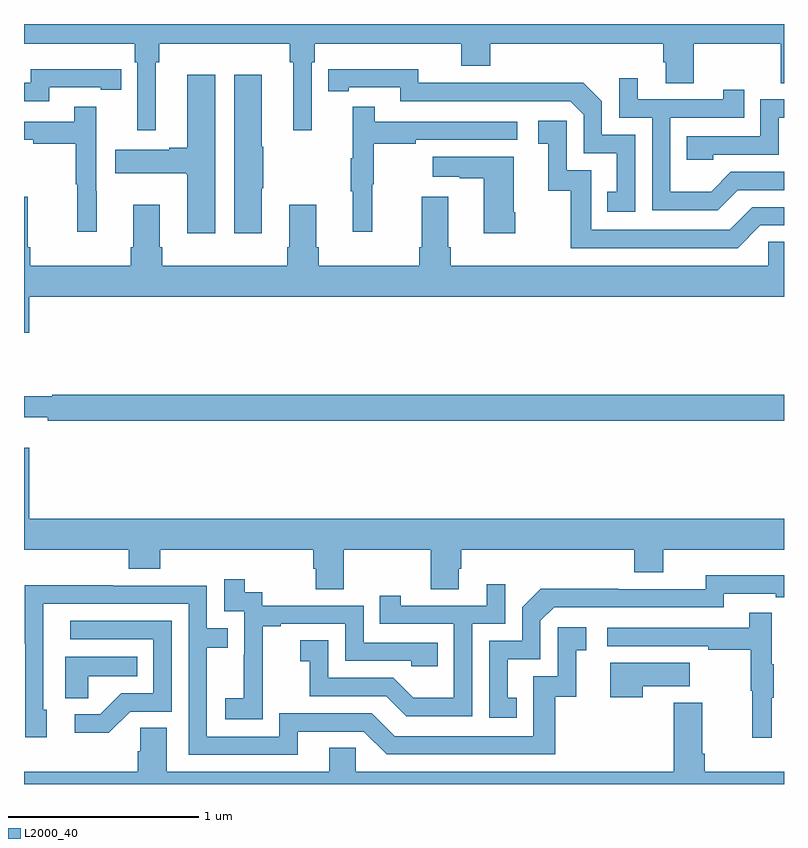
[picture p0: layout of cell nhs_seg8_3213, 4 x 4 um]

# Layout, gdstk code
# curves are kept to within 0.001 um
import gdstk
lib = gdstk.Library(unit=1e-6, precision=1e-09)
def P(c, l, *ps):  # polygons
    for p in ps: c.add(gdstk.Polygon(p, *l))
L2000_40 = (2000, 40)

nhs_seg8_3213 = lib.new_cell('nhs_seg8_3213')
P(nhs_seg8_3213, L2000_40, [(309.694,1153.7),(309.713,1153.7),(309.713,1153.796),(310.399,1153.796),(310.399,1153.7),(310.418,1153.7),(310.418,1153.341),(310.515,1153.341),(310.515,1153.7),(310.529,1153.7),(310.529,1153.796),(311.3,1153.796),(311.3,1153.679),(311.453,1153.679),(311.453,1153.796),(312.365,1153.796),(312.365,1153.698),(312.377,1153.698),(312.377,1153.588),(312.525,1153.588),(312.525,1153.796),(312.982,1153.796),(312.982,1153.588),(313,1153.588),(313,1153.9),(309,1153.9),(309,1153.796),(309.584,1153.796),(309.584,1153.7),(309.597,1153.7),(309.597,1153.341),(309.694,1153.341)],
  [(309.132,1153.566),(309.404,1153.566),(309.404,1153.554),(309.512,1153.554),(309.512,1153.662),(309.404,1153.662),(309.404,1153.663),(309.036,1153.663),(309.036,1153.59),(309,1153.59),(309,1153.494),(309.132,1153.494)],
  [(312.216,1153.317),(312.042,1153.317),(312.042,1153.494),(311.944,1153.592),(311.536,1153.592),(311.536,1153.59),(311.076,1153.59),(311.076,1153.663),(310.6,1153.662),(310.6,1153.546),(310.708,1153.546),(310.708,1153.566),(310.98,1153.566),(310.98,1153.494),(311.874,1153.494),(311.946,1153.422),(311.946,1153.221),(312.119,1153.221),(312.119,1153.017),(312.07,1153.017),(312.07,1152.912),(312.216,1152.912)],
  [(310.252,1153.036),(310.26,1153.036),(310.26,1153.253),(310.252,1153.253),(310.252,1153.633),(310.106,1153.633),(310.106,1152.798),(310.252,1152.798)],
  [(310.006,1153.633),(309.86,1153.633),(309.86,1153.25),(309.764,1153.25),(309.764,1153.237),(309.48,1153.237),(309.48,1153.115),(309.853,1153.115),(309.853,1153.108),(309.86,1153.108),(309.86,1152.798),(310.006,1152.798)],
  [(312.757,1153.026),(313,1153.026),(313,1153.122),(312.72,1153.122),(312.616,1153.018),(312.402,1153.018),(312.402,1153.407),(312.791,1153.407),(312.791,1153.555),(312.68,1153.555),(312.68,1153.503),(312.229,1153.503),(312.229,1153.615),(312.132,1153.615),(312.132,1153.407),(312.306,1153.407),(312.306,1152.921),(312.652,1152.921)],
  [(312.627,1153.212),(312.972,1153.212),(312.972,1153.407),(313,1153.407),(313,1153.503),(312.876,1153.503),(312.876,1153.308),(312.487,1153.308),(312.487,1153.185),(312.627,1153.185)],
  [(309.383,1153.019),(309.381,1153.019),(309.381,1153.465),(309.265,1153.465),(309.265,1153.386),(309,1153.386),(309,1153.29),(309.049,1153.29),(309.049,1153.27),(309.273,1153.27),(309.273,1153.056),(309.28,1153.056),(309.28,1152.807),(309.383,1152.807)],
  [(310.832,1153.056),(310.84,1153.056),(310.84,1153.27),(311.063,1153.27),(311.063,1153.29),(311.596,1153.29),(311.596,1153.386),(310.847,1153.386),(310.847,1153.465),(310.73,1153.465),(310.73,1153.193),(310.719,1153.193),(310.719,1153.019),(310.73,1153.019),(310.73,1152.807),(310.832,1152.807)],
  [(312.876,1152.84),(313,1152.84),(313,1152.936),(312.834,1152.936),(312.714,1152.816),(311.985,1152.816),(311.985,1153.131),(311.856,1153.131),(311.856,1153.39),(311.706,1153.39),(311.706,1153.269),(311.759,1153.269),(311.759,1153.023),(311.877,1153.023),(311.877,1152.72),(312.756,1152.72)],
  [(311.586,1152.91),(311.578,1152.91),(311.578,1153.201),(311.151,1153.201),(311.151,1153.097),(311.294,1153.097),(311.294,1153.087),(311.42,1153.087),(311.42,1152.798),(311.586,1152.798)],
  [(313,1152.755),(312.918,1152.755),(312.918,1152.628),(311.246,1152.628),(311.246,1152.724),(311.233,1152.724),(311.233,1152.991),(311.093,1152.991),(311.093,1152.724),(311.081,1152.724),(311.081,1152.628),(310.55,1152.628),(310.55,1152.724),(310.537,1152.724),(310.537,1152.949),(310.397,1152.949),(310.397,1152.724),(310.385,1152.724),(310.385,1152.628),(309.728,1152.628),(309.728,1152.724),(309.715,1152.724),(309.715,1152.949),(309.575,1152.949),(309.575,1152.724),(309.563,1152.724),(309.563,1152.628),(309.032,1152.628),(309.032,1152.724),(309.019,1152.724),(309.019,1152.991),(309,1152.991),(309,1152.276),(309.028,1152.276),(309.028,1152.464),(313,1152.464)],
  [(313,1151.948),(309.149,1151.948),(309.149,1151.941),(309,1151.941),(309,1151.831),(309.124,1151.831),(309.124,1151.812),(313,1151.812)],
  [(310.683,1151.132),(311.14,1151.132),(311.14,1150.924),(311.287,1150.924),(311.287,1151.034),(311.3,1151.034),(311.3,1151.132),(312.212,1151.132),(312.212,1151.015),(312.364,1151.015),(312.364,1151.132),(313,1151.132),(313,1151.296),(309.028,1151.296),(309.028,1151.671),(309,1151.671),(309,1151.132),(309.551,1151.132),(309.551,1151.033),(309.716,1151.033),(309.716,1151.132),(310.523,1151.132),(310.523,1151.034),(310.535,1151.034),(310.535,1150.924),(310.683,1150.924)],
  [(311.594,1150.353),(311.545,1150.353),(311.545,1150.557),(311.718,1150.557),(311.718,1150.758),(311.79,1150.83),(312.684,1150.83),(312.684,1150.902),(312.956,1150.902),(312.956,1150.882),(313,1150.882),(313,1150.998),(312.588,1150.999),(312.588,1150.926),(312.128,1150.926),(312.128,1150.928),(311.72,1150.928),(311.622,1150.83),(311.622,1150.653),(311.448,1150.653),(311.448,1150.248),(311.594,1150.248)],
  [(310.257,1150.447),(310.256,1150.447),(310.256,1150.731),(310.351,1150.731),(310.351,1150.743),(310.692,1150.743),(310.692,1150.548),(311.037,1150.548),(311.037,1150.521),(311.177,1150.521),(311.177,1150.644),(310.788,1150.644),(310.788,1150.839),(310.254,1150.839),(310.254,1150.908),(310.162,1150.908),(310.162,1150.978),(310.053,1150.978),(310.053,1150.809),(310.158,1150.809),(310.158,1150.58),(310.157,1150.58),(310.157,1150.351),(310.059,1150.351),(310.059,1150.241),(310.257,1150.241)],
  [(311.358,1150.743),(311.532,1150.743),(311.532,1150.951),(311.435,1150.951),(311.435,1150.839),(310.984,1150.839),(310.984,1150.891),(310.873,1150.891),(310.873,1150.743),(311.262,1150.743),(311.262,1150.354),(311.048,1150.354),(310.944,1150.458),(310.602,1150.458),(310.602,1150.657),(310.455,1150.657),(310.455,1150.547),(310.504,1150.547),(310.504,1150.362),(310.907,1150.362),(311.012,1150.257),(311.358,1150.257)],
  [(310.441,1150.176),(310.788,1150.176),(310.908,1150.056),(311.795,1150.056),(311.795,1150.359),(311.906,1150.359),(311.906,1150.605),(311.959,1150.605),(311.959,1150.726),(311.808,1150.726),(311.808,1150.467),(311.679,1150.467),(311.679,1150.152),(310.95,1150.152),(310.83,1150.272),(310.344,1150.272),(310.344,1150.149),(309.963,1150.149),(309.963,1150.618),(310.073,1150.618),(310.073,1150.719),(309.963,1150.719),(309.963,1150.944),(309.467,1150.944),(309.467,1150.946),(309.004,1150.946),(309.004,1150.639),(309.006,1150.639),(309.006,1150.146),(309.121,1150.146),(309.121,1150.29),(309.102,1150.29),(309.102,1150.848),(309.867,1150.848),(309.867,1150.053),(310.441,1150.053)],
  [(312.935,1150.355),(312.946,1150.355),(312.946,1150.529),(312.935,1150.529),(312.935,1150.801),(312.817,1150.801),(312.817,1150.722),(312.069,1150.722),(312.069,1150.626),(312.601,1150.626),(312.601,1150.606),(312.825,1150.606),(312.825,1150.392),(312.832,1150.392),(312.832,1150.143),(312.935,1150.143)],
  [(309.558,1150.281),(309.777,1150.281),(309.777,1150.758),(309.243,1150.758),(309.243,1150.662),(309.681,1150.662),(309.681,1150.377),(309.512,1150.377),(309.401,1150.266),(309.267,1150.266),(309.267,1150.169),(309.445,1150.169)],
  [(309.339,1150.466),(309.596,1150.466),(309.596,1150.57),(309.218,1150.57),(309.218,1150.351),(309.339,1150.351)],
  [(312.257,1150.415),(312.505,1150.415),(312.505,1150.537),(312.086,1150.537),(312.086,1150.356),(312.257,1150.356)],
  [(313,1149.964),(312.584,1149.964),(312.584,1150.06),(312.571,1150.06),(312.571,1150.327),(312.419,1150.327),(312.419,1149.964),(310.746,1149.964),(310.746,1150.091),(310.607,1150.091),(310.607,1149.964),(309.751,1149.964),(309.751,1150.196),(309.612,1150.196),(309.612,1150.073),(309.599,1150.073),(309.599,1149.964),(309,1149.964),(309,1149.9),(313,1149.9)])

lib.write_gds('nhs_seg8_3213.gds')
